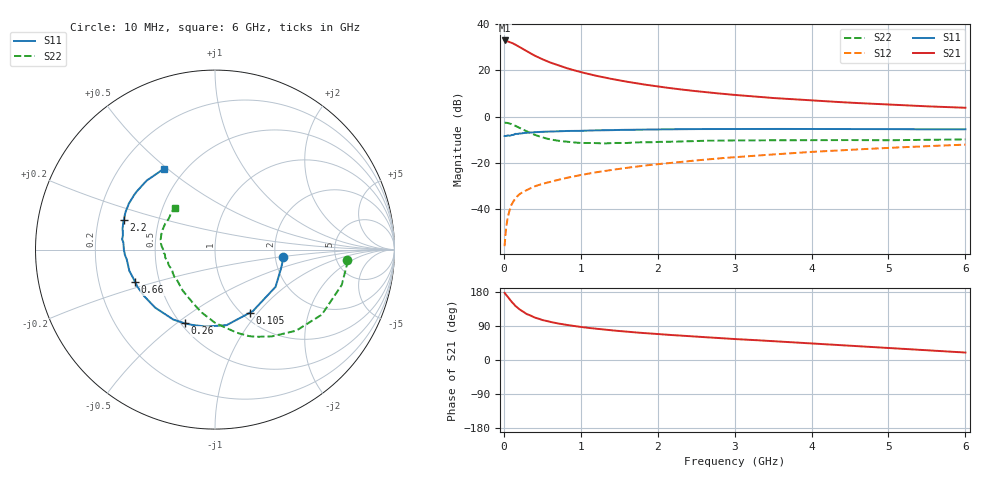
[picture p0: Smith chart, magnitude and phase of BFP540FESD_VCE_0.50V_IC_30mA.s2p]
! Infineon Technologies  Discrete & RF Semiconductors
! BFP540FESD
! VCE = 0.50 V,  IC =  30 mA
! Common Emitter S-Parameters:  Nov 2015
# GHz  S  MA  R  50
!  f  S11  S21  S12  S22
! GHz  MAG  ANG  MAG  ANG  MAG  ANG  MAG  ANG
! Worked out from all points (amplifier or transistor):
!   210 points, 10 MHz to 6 GHz, reference 50 ohm
!   highest |S21| = 32.9 dB at 10 MHz (marker M1)
!   |S21| within 3 dB of that: start of sweep to 212.7 MHz
!   unconditionally stable (mu >= 1): start of sweep to 35.15 MHz; 1.168 GHz to end of sweep
!   at 185 MHz: K = 0.48, MSG = 32.2 dB, |S12| = -34.0 dB
!   at 1.52 GHz: K = 1.05, MAG = 17.6 dB, |S12| = -22.4 dB
!   at 6 GHz: K = 1.17, MAG = 5.5 dB, |S12| = -12.1 dB
!   S11 on the Smith chart (normalised r, x): 10 MHz: 2.22, -0.22; 105 MHz: 1.09, -0.91; 260 MHz: 0.52, -0.54; 660 MHz: 0.36, -0.17; 2.2 GHz: 0.31, +0.14; 6 GHz: 0.38, +0.48
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0.01  0.3836 -6.3  44.28 177.1  0.0016 106.2  0.738 -4.7
0.02  0.3827 -15.0  42.51 174.7  0.0027 94.2  0.7417 -5.4
0.05  0.3961 -31.6  42.2 166.7  0.0065 83.5  0.7331 -15.6
0.1  0.4024 -58.4  39.68 153.8  0.0126 75.2  0.6966 -31.4
0.105  0.4017 -60.8  39.25 152.8  0.0131 74.4  0.6892 -32.6
0.15  0.4257 -81.2  36 142.8  0.0172 69.0  0.6391 -45.0
0.2  0.4319 -96.7  32.32 134.2  0.021 65.2  0.5779 -56.8
0.26  0.4441 -112.3  28.06 125.8  0.0243 61.2  0.5174 -68.6
0.3  0.4538 -120.9  25.68 121.1  0.0262 59.9  0.4788 -75.3
0.4  0.4645 -135.9  20.88 112.1  0.0313 58.3  0.4085 -89.9
0.5  0.4721 -146.6  17.43 105.6  0.0354 57.6  0.3582 -102.0
0.66  0.4799 -157.7  13.7 98.3  0.0414 57.8  0.3113 -116.4
0.8  0.4916 -165.9  11.4 93.0  0.0471 58.7  0.2907 -128.3
1.02  0.4963 -174.3  9.007 86.7  0.0558 58.5  0.2711 -141.6
1.2  0.5075 -179.8  7.651 82.5  0.0629 58.9  0.2693 -150.7
1.5  0.5207 173.7  6.077 76.5  0.0749 58.2  0.272 -162.8
2.02  0.5327 163.7  4.435 68.0  0.0949 56.3  0.286 -176.5
2.2  0.5334 161.8  4.061 65.6  0.1021 55.3  0.2882 179.9
3.1  0.5438 151.0  2.867 54.3  0.1372 50.4  0.308 168.7
4.1  0.5425 142.6  2.192 42.6  0.1774 43.4  0.3122 157.4
5.1  0.539 133.4  1.8 30.5  0.2159 34.3  0.3114 145.0
6  0.5339 122.5  1.559 19.7  0.2492 25.9  0.3232 133.8
